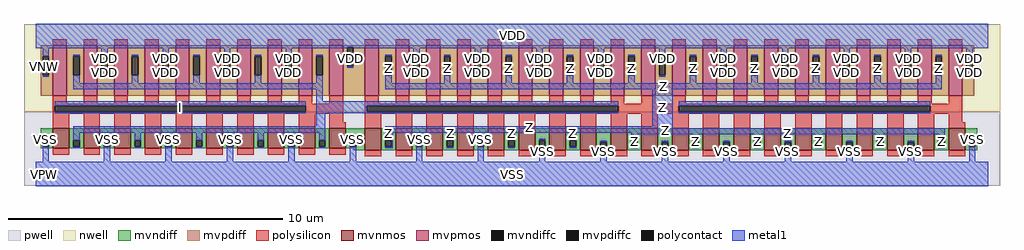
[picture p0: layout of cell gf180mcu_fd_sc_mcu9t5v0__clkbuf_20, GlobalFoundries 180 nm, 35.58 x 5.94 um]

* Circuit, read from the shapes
.subckt gf180mcu_fd_sc_mcu9t5v0__clkbuf_20 I Z VDD VNW VPW VSS
XM1 n1 I VSS VPW nfet_06v0 w=0.73u l=0.6u m=10
XM2 Z n1 VSS VPW nfet_06v0 w=0.8u l=0.6u m=20
XM3 n1 I VDD VNW pfet_06v0 w=1.83u l=0.5u m=10
XM4 Z n1 VDD VNW pfet_06v0 w=1.83u l=0.5u m=20
.ends

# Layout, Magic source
magic
tech gf180mcuD
magscale 1 10
<< nwell >>
rect -86 453 7030 1094
<< pwell >>
rect -86 -86 7030 453
<< mvnmos >>
rect 124 187 244 333
rect 348 187 468 333
rect 572 187 692 333
rect 796 187 916 333
rect 1020 187 1140 333
rect 1244 187 1364 333
rect 1468 187 1588 333
rect 1692 187 1812 333
rect 1916 187 2036 333
rect 2140 187 2260 333
rect 2400 173 2520 333
rect 2624 173 2744 333
rect 2848 173 2968 333
rect 3072 173 3192 333
rect 3296 173 3416 333
rect 3520 173 3640 333
rect 3744 173 3864 333
rect 3968 173 4088 333
rect 4192 173 4312 333
rect 4416 173 4536 333
rect 4640 173 4760 333
rect 4864 173 4984 333
rect 5088 173 5208 333
rect 5312 173 5432 333
rect 5536 173 5656 333
rect 5760 173 5880 333
rect 5984 173 6104 333
rect 6208 173 6328 333
rect 6432 173 6552 333
rect 6656 173 6776 333
<< mvpmos >>
rect 124 573 224 939
rect 348 573 448 939
rect 572 573 672 939
rect 796 573 896 939
rect 1020 573 1120 939
rect 1244 573 1344 939
rect 1468 573 1568 939
rect 1692 573 1792 939
rect 1916 573 2016 939
rect 2140 573 2240 939
rect 2400 573 2500 939
rect 2624 573 2724 939
rect 2848 573 2948 939
rect 3072 573 3172 939
rect 3296 573 3396 939
rect 3520 573 3620 939
rect 3744 573 3844 939
rect 3968 573 4068 939
rect 4192 573 4292 939
rect 4416 573 4516 939
rect 4640 573 4740 939
rect 4864 573 4964 939
rect 5088 573 5188 939
rect 5312 573 5412 939
rect 5536 573 5636 939
rect 5760 573 5860 939
rect 5984 573 6084 939
rect 6208 573 6308 939
rect 6432 573 6532 939
rect 6656 573 6756 939
<< mvndiff >>
rect 36 246 124 333
rect 36 200 49 246
rect 95 200 124 246
rect 36 187 124 200
rect 244 246 348 333
rect 244 200 273 246
rect 319 200 348 246
rect 244 187 348 200
rect 468 246 572 333
rect 468 200 497 246
rect 543 200 572 246
rect 468 187 572 200
rect 692 246 796 333
rect 692 200 721 246
rect 767 200 796 246
rect 692 187 796 200
rect 916 246 1020 333
rect 916 200 945 246
rect 991 200 1020 246
rect 916 187 1020 200
rect 1140 246 1244 333
rect 1140 200 1169 246
rect 1215 200 1244 246
rect 1140 187 1244 200
rect 1364 246 1468 333
rect 1364 200 1393 246
rect 1439 200 1468 246
rect 1364 187 1468 200
rect 1588 246 1692 333
rect 1588 200 1617 246
rect 1663 200 1692 246
rect 1588 187 1692 200
rect 1812 246 1916 333
rect 1812 200 1841 246
rect 1887 200 1916 246
rect 1812 187 1916 200
rect 2036 246 2140 333
rect 2036 200 2065 246
rect 2111 200 2140 246
rect 2036 187 2140 200
rect 2260 246 2400 333
rect 2260 200 2289 246
rect 2335 200 2400 246
rect 2260 187 2400 200
rect 2320 173 2400 187
rect 2520 246 2624 333
rect 2520 200 2549 246
rect 2595 200 2624 246
rect 2520 173 2624 200
rect 2744 246 2848 333
rect 2744 200 2773 246
rect 2819 200 2848 246
rect 2744 173 2848 200
rect 2968 246 3072 333
rect 2968 200 2997 246
rect 3043 200 3072 246
rect 2968 173 3072 200
rect 3192 246 3296 333
rect 3192 200 3221 246
rect 3267 200 3296 246
rect 3192 173 3296 200
rect 3416 246 3520 333
rect 3416 200 3445 246
rect 3491 200 3520 246
rect 3416 173 3520 200
rect 3640 246 3744 333
rect 3640 200 3669 246
rect 3715 200 3744 246
rect 3640 173 3744 200
rect 3864 246 3968 333
rect 3864 200 3893 246
rect 3939 200 3968 246
rect 3864 173 3968 200
rect 4088 232 4192 333
rect 4088 186 4117 232
rect 4163 186 4192 232
rect 4088 173 4192 186
rect 4312 246 4416 333
rect 4312 200 4341 246
rect 4387 200 4416 246
rect 4312 173 4416 200
rect 4536 232 4640 333
rect 4536 186 4565 232
rect 4611 186 4640 232
rect 4536 173 4640 186
rect 4760 246 4864 333
rect 4760 200 4789 246
rect 4835 200 4864 246
rect 4760 173 4864 200
rect 4984 232 5088 333
rect 4984 186 5013 232
rect 5059 186 5088 232
rect 4984 173 5088 186
rect 5208 246 5312 333
rect 5208 200 5237 246
rect 5283 200 5312 246
rect 5208 173 5312 200
rect 5432 232 5536 333
rect 5432 186 5461 232
rect 5507 186 5536 232
rect 5432 173 5536 186
rect 5656 246 5760 333
rect 5656 200 5685 246
rect 5731 200 5760 246
rect 5656 173 5760 200
rect 5880 232 5984 333
rect 5880 186 5909 232
rect 5955 186 5984 232
rect 5880 173 5984 186
rect 6104 246 6208 333
rect 6104 200 6133 246
rect 6179 200 6208 246
rect 6104 173 6208 200
rect 6328 232 6432 333
rect 6328 186 6357 232
rect 6403 186 6432 232
rect 6328 173 6432 186
rect 6552 246 6656 333
rect 6552 200 6581 246
rect 6627 200 6656 246
rect 6552 173 6656 200
rect 6776 246 6864 333
rect 6776 200 6805 246
rect 6851 200 6864 246
rect 6776 173 6864 200
<< mvpdiff >>
rect 36 861 124 939
rect 36 721 49 861
rect 95 721 124 861
rect 36 573 124 721
rect 224 861 348 939
rect 224 721 273 861
rect 319 721 348 861
rect 224 573 348 721
rect 448 861 572 939
rect 448 721 477 861
rect 523 721 572 861
rect 448 573 572 721
rect 672 861 796 939
rect 672 721 701 861
rect 747 721 796 861
rect 672 573 796 721
rect 896 861 1020 939
rect 896 721 925 861
rect 971 721 1020 861
rect 896 573 1020 721
rect 1120 861 1244 939
rect 1120 721 1149 861
rect 1195 721 1244 861
rect 1120 573 1244 721
rect 1344 861 1468 939
rect 1344 721 1373 861
rect 1419 721 1468 861
rect 1344 573 1468 721
rect 1568 861 1692 939
rect 1568 721 1597 861
rect 1643 721 1692 861
rect 1568 573 1692 721
rect 1792 861 1916 939
rect 1792 721 1821 861
rect 1867 721 1916 861
rect 1792 573 1916 721
rect 2016 861 2140 939
rect 2016 721 2045 861
rect 2091 721 2140 861
rect 2016 573 2140 721
rect 2240 926 2400 939
rect 2240 786 2269 926
rect 2315 786 2400 926
rect 2240 573 2400 786
rect 2500 861 2624 939
rect 2500 721 2549 861
rect 2595 721 2624 861
rect 2500 573 2624 721
rect 2724 861 2848 939
rect 2724 721 2753 861
rect 2799 721 2848 861
rect 2724 573 2848 721
rect 2948 861 3072 939
rect 2948 721 2977 861
rect 3023 721 3072 861
rect 2948 573 3072 721
rect 3172 861 3296 939
rect 3172 721 3201 861
rect 3247 721 3296 861
rect 3172 573 3296 721
rect 3396 861 3520 939
rect 3396 721 3425 861
rect 3471 721 3520 861
rect 3396 573 3520 721
rect 3620 861 3744 939
rect 3620 721 3649 861
rect 3695 721 3744 861
rect 3620 573 3744 721
rect 3844 861 3968 939
rect 3844 721 3873 861
rect 3919 721 3968 861
rect 3844 573 3968 721
rect 4068 861 4192 939
rect 4068 721 4097 861
rect 4143 721 4192 861
rect 4068 573 4192 721
rect 4292 861 4416 939
rect 4292 721 4321 861
rect 4367 721 4416 861
rect 4292 573 4416 721
rect 4516 861 4640 939
rect 4516 721 4545 861
rect 4591 721 4640 861
rect 4516 573 4640 721
rect 4740 861 4864 939
rect 4740 721 4769 861
rect 4815 721 4864 861
rect 4740 573 4864 721
rect 4964 861 5088 939
rect 4964 721 4993 861
rect 5039 721 5088 861
rect 4964 573 5088 721
rect 5188 861 5312 939
rect 5188 721 5217 861
rect 5263 721 5312 861
rect 5188 573 5312 721
rect 5412 861 5536 939
rect 5412 721 5441 861
rect 5487 721 5536 861
rect 5412 573 5536 721
rect 5636 861 5760 939
rect 5636 721 5665 861
rect 5711 721 5760 861
rect 5636 573 5760 721
rect 5860 861 5984 939
rect 5860 721 5889 861
rect 5935 721 5984 861
rect 5860 573 5984 721
rect 6084 861 6208 939
rect 6084 721 6113 861
rect 6159 721 6208 861
rect 6084 573 6208 721
rect 6308 861 6432 939
rect 6308 721 6337 861
rect 6383 721 6432 861
rect 6308 573 6432 721
rect 6532 861 6656 939
rect 6532 721 6561 861
rect 6607 721 6656 861
rect 6532 573 6656 721
rect 6756 861 6844 939
rect 6756 721 6785 861
rect 6831 721 6844 861
rect 6756 573 6844 721
<< mvndiffc >>
rect 49 200 95 246
rect 273 200 319 246
rect 497 200 543 246
rect 721 200 767 246
rect 945 200 991 246
rect 1169 200 1215 246
rect 1393 200 1439 246
rect 1617 200 1663 246
rect 1841 200 1887 246
rect 2065 200 2111 246
rect 2289 200 2335 246
rect 2549 200 2595 246
rect 2773 200 2819 246
rect 2997 200 3043 246
rect 3221 200 3267 246
rect 3445 200 3491 246
rect 3669 200 3715 246
rect 3893 200 3939 246
rect 4117 186 4163 232
rect 4341 200 4387 246
rect 4565 186 4611 232
rect 4789 200 4835 246
rect 5013 186 5059 232
rect 5237 200 5283 246
rect 5461 186 5507 232
rect 5685 200 5731 246
rect 5909 186 5955 232
rect 6133 200 6179 246
rect 6357 186 6403 232
rect 6581 200 6627 246
rect 6805 200 6851 246
<< mvpdiffc >>
rect 49 721 95 861
rect 273 721 319 861
rect 477 721 523 861
rect 701 721 747 861
rect 925 721 971 861
rect 1149 721 1195 861
rect 1373 721 1419 861
rect 1597 721 1643 861
rect 1821 721 1867 861
rect 2045 721 2091 861
rect 2269 786 2315 926
rect 2549 721 2595 861
rect 2753 721 2799 861
rect 2977 721 3023 861
rect 3201 721 3247 861
rect 3425 721 3471 861
rect 3649 721 3695 861
rect 3873 721 3919 861
rect 4097 721 4143 861
rect 4321 721 4367 861
rect 4545 721 4591 861
rect 4769 721 4815 861
rect 4993 721 5039 861
rect 5217 721 5263 861
rect 5441 721 5487 861
rect 5665 721 5711 861
rect 5889 721 5935 861
rect 6113 721 6159 861
rect 6337 721 6383 861
rect 6561 721 6607 861
rect 6785 721 6831 861
<< polysilicon >>
rect 124 939 224 983
rect 348 939 448 983
rect 572 939 672 983
rect 796 939 896 983
rect 1020 939 1120 983
rect 1244 939 1344 983
rect 1468 939 1568 983
rect 1692 939 1792 983
rect 1916 939 2016 983
rect 2140 939 2240 983
rect 2400 939 2500 983
rect 2624 939 2724 983
rect 2848 939 2948 983
rect 3072 939 3172 983
rect 3296 939 3396 983
rect 3520 939 3620 983
rect 3744 939 3844 983
rect 3968 939 4068 983
rect 4192 939 4292 983
rect 4416 939 4516 983
rect 4640 939 4740 983
rect 4864 939 4964 983
rect 5088 939 5188 983
rect 5312 939 5412 983
rect 5536 939 5636 983
rect 5760 939 5860 983
rect 5984 939 6084 983
rect 6208 939 6308 983
rect 6432 939 6532 983
rect 6656 939 6756 983
rect 124 513 224 573
rect 348 513 448 573
rect 572 513 672 573
rect 796 513 896 573
rect 1020 513 1120 573
rect 1244 513 1344 573
rect 1468 513 1568 573
rect 1692 513 1792 573
rect 1916 513 2016 573
rect 2140 513 2240 573
rect 124 500 2240 513
rect 124 454 137 500
rect 1969 454 2240 500
rect 124 441 2240 454
rect 124 333 244 441
rect 348 333 468 441
rect 572 333 692 441
rect 796 333 916 441
rect 1020 333 1140 441
rect 1244 333 1364 441
rect 1468 333 1588 441
rect 1692 333 1812 441
rect 1916 333 2036 441
rect 2140 377 2240 441
rect 2400 513 2500 573
rect 2624 513 2724 573
rect 2848 513 2948 573
rect 3072 513 3172 573
rect 3296 513 3396 573
rect 3520 513 3620 573
rect 3744 513 3844 573
rect 3968 513 4068 573
rect 4192 513 4292 573
rect 4416 513 4516 573
rect 4640 513 4740 573
rect 4864 513 4964 573
rect 5088 513 5188 573
rect 5312 513 5412 573
rect 5536 513 5636 573
rect 5760 513 5860 573
rect 5984 513 6084 573
rect 6208 513 6308 573
rect 6432 513 6532 573
rect 6656 513 6756 573
rect 2400 500 6756 513
rect 2400 454 2413 500
rect 4245 454 4689 500
rect 6521 454 6756 500
rect 2400 441 6756 454
rect 2140 333 2260 377
rect 2400 333 2520 441
rect 2624 333 2744 441
rect 2848 333 2968 441
rect 3072 333 3192 441
rect 3296 333 3416 441
rect 3520 333 3640 441
rect 3744 333 3864 441
rect 3968 333 4088 441
rect 4192 333 4312 441
rect 4416 333 4536 441
rect 4640 333 4760 441
rect 4864 333 4984 441
rect 5088 333 5208 441
rect 5312 333 5432 441
rect 5536 333 5656 441
rect 5760 333 5880 441
rect 5984 333 6104 441
rect 6208 333 6328 441
rect 6432 333 6552 441
rect 6656 377 6756 441
rect 6656 333 6776 377
rect 124 143 244 187
rect 348 143 468 187
rect 572 143 692 187
rect 796 143 916 187
rect 1020 143 1140 187
rect 1244 143 1364 187
rect 1468 143 1588 187
rect 1692 143 1812 187
rect 1916 143 2036 187
rect 2140 143 2260 187
rect 2400 129 2520 173
rect 2624 129 2744 173
rect 2848 129 2968 173
rect 3072 129 3192 173
rect 3296 129 3416 173
rect 3520 129 3640 173
rect 3744 129 3864 173
rect 3968 129 4088 173
rect 4192 129 4312 173
rect 4416 129 4536 173
rect 4640 129 4760 173
rect 4864 129 4984 173
rect 5088 129 5208 173
rect 5312 129 5432 173
rect 5536 129 5656 173
rect 5760 129 5880 173
rect 5984 129 6104 173
rect 6208 129 6328 173
rect 6432 129 6552 173
rect 6656 129 6776 173
<< polycontact >>
rect 137 454 1969 500
rect 2413 454 4245 500
rect 4689 454 6521 500
<< metal1 >>
rect 0 926 6944 1098
rect 0 918 2269 926
rect 49 861 95 918
rect 49 710 95 721
rect 273 861 319 872
rect 273 664 319 721
rect 477 861 523 918
rect 477 710 523 721
rect 701 861 747 872
rect 701 664 747 721
rect 925 861 971 918
rect 925 710 971 721
rect 1149 861 1195 872
rect 1149 664 1195 721
rect 1373 861 1419 918
rect 1373 710 1419 721
rect 1597 861 1643 872
rect 1597 664 1643 721
rect 1821 861 1867 918
rect 1821 710 1867 721
rect 2045 861 2091 872
rect 2315 918 6944 926
rect 2269 775 2315 786
rect 2549 861 2595 872
rect 2045 664 2091 721
rect 273 618 2091 664
rect 2549 664 2595 721
rect 2753 861 2799 918
rect 2753 710 2799 721
rect 2977 861 3023 872
rect 2977 664 3023 721
rect 3201 861 3247 918
rect 3201 710 3247 721
rect 3425 861 3471 872
rect 3425 664 3471 721
rect 3649 861 3695 918
rect 3649 710 3695 721
rect 3873 861 3919 872
rect 3873 664 3919 721
rect 4097 861 4143 918
rect 4097 710 4143 721
rect 4321 861 4367 872
rect 4321 664 4367 721
rect 4545 861 4591 918
rect 4545 710 4591 721
rect 4769 861 4815 872
rect 4769 664 4815 721
rect 4993 861 5039 918
rect 4993 710 5039 721
rect 5217 861 5263 872
rect 5217 664 5263 721
rect 5441 861 5487 918
rect 5441 710 5487 721
rect 5665 861 5711 872
rect 5665 664 5711 721
rect 5889 861 5935 918
rect 5889 710 5935 721
rect 6113 861 6159 872
rect 6113 664 6159 721
rect 6337 861 6383 918
rect 6337 710 6383 721
rect 6561 861 6607 872
rect 6561 664 6607 721
rect 6785 861 6831 918
rect 6785 710 6831 721
rect 2549 618 6607 664
rect 2045 530 2091 618
rect 137 500 1969 530
rect 137 443 1969 454
rect 2045 500 4245 530
rect 2045 454 2413 500
rect 2045 443 4245 454
rect 2045 349 2111 443
rect 4493 349 4643 618
rect 4689 500 6521 530
rect 4689 443 6521 454
rect 273 303 2111 349
rect 49 246 95 257
rect 49 90 95 200
rect 273 246 319 303
rect 273 189 319 200
rect 497 246 543 257
rect 497 90 543 200
rect 721 246 767 303
rect 721 189 767 200
rect 945 246 991 257
rect 945 90 991 200
rect 1169 246 1215 303
rect 1169 189 1215 200
rect 1393 246 1439 257
rect 1393 90 1439 200
rect 1617 246 1663 303
rect 1617 189 1663 200
rect 1841 246 1887 257
rect 1841 90 1887 200
rect 2065 246 2111 303
rect 2549 335 4643 349
rect 2549 303 6627 335
rect 2065 189 2111 200
rect 2289 246 2335 257
rect 2289 90 2335 200
rect 2549 246 2601 303
rect 2595 200 2601 246
rect 2549 189 2601 200
rect 2773 246 2819 257
rect 2773 90 2819 200
rect 2997 246 3043 303
rect 2997 189 3043 200
rect 3221 246 3267 257
rect 3221 90 3267 200
rect 3445 246 3491 303
rect 3445 189 3491 200
rect 3669 246 3715 257
rect 3669 90 3715 200
rect 3893 246 3939 303
rect 4341 289 6627 303
rect 4341 246 4387 289
rect 3893 189 3939 200
rect 4117 232 4163 243
rect 4789 246 4835 289
rect 4341 189 4387 200
rect 4565 232 4611 243
rect 4117 90 4163 186
rect 5237 246 5283 289
rect 4789 189 4835 200
rect 5013 232 5059 243
rect 4565 90 4611 186
rect 5685 246 5731 289
rect 5237 189 5283 200
rect 5461 232 5507 243
rect 5013 90 5059 186
rect 6133 246 6179 289
rect 5685 189 5731 200
rect 5909 232 5955 243
rect 5461 90 5507 186
rect 6581 246 6627 289
rect 6133 189 6179 200
rect 6357 232 6403 243
rect 5909 90 5955 186
rect 6581 189 6627 200
rect 6805 246 6851 257
rect 6357 90 6403 186
rect 6805 90 6851 200
rect 0 -90 6944 90
<< labels >>
flabel metal1 s 137 443 1969 530 0 FreeSans 200 0 0 0 I
port 1 nsew default input
flabel metal1 s 0 918 6944 1098 0 FreeSans 200 0 0 0 VDD
port 3 nsew power bidirectional abutment
flabel metal1 s 6805 243 6851 257 0 FreeSans 200 0 0 0 VSS
port 6 nsew ground bidirectional abutment
flabel metal1 s 6561 664 6607 872 0 FreeSans 200 0 0 0 Z
port 2 nsew default output
flabel nwell s 10 734 110 834 0 FreeSans 400 0 0 0 VNW
port 4 nsew power bidirectional
flabel pwell s 10 -50 110 50 0 FreeSans 400 0 0 0 VPW
port 5 nsew ground bidirectional
rlabel metal1 s 6113 664 6159 872 1 Z
port 2 nsew default output
rlabel metal1 s 5665 664 5711 872 1 Z
port 2 nsew default output
rlabel metal1 s 5217 664 5263 872 1 Z
port 2 nsew default output
rlabel metal1 s 4769 664 4815 872 1 Z
port 2 nsew default output
rlabel metal1 s 4321 664 4367 872 1 Z
port 2 nsew default output
rlabel metal1 s 3873 664 3919 872 1 Z
port 2 nsew default output
rlabel metal1 s 3425 664 3471 872 1 Z
port 2 nsew default output
rlabel metal1 s 2977 664 3023 872 1 Z
port 2 nsew default output
rlabel metal1 s 2549 664 2595 872 1 Z
port 2 nsew default output
rlabel metal1 s 2549 618 6607 664 1 Z
port 2 nsew default output
rlabel metal1 s 4493 349 4643 618 1 Z
port 2 nsew default output
rlabel metal1 s 2549 335 4643 349 1 Z
port 2 nsew default output
rlabel metal1 s 2549 303 6627 335 1 Z
port 2 nsew default output
rlabel metal1 s 4341 289 6627 303 1 Z
port 2 nsew default output
rlabel metal1 s 3893 289 3939 303 1 Z
port 2 nsew default output
rlabel metal1 s 3445 289 3491 303 1 Z
port 2 nsew default output
rlabel metal1 s 2997 289 3043 303 1 Z
port 2 nsew default output
rlabel metal1 s 2549 289 2601 303 1 Z
port 2 nsew default output
rlabel metal1 s 6581 189 6627 289 1 Z
port 2 nsew default output
rlabel metal1 s 6133 189 6179 289 1 Z
port 2 nsew default output
rlabel metal1 s 5685 189 5731 289 1 Z
port 2 nsew default output
rlabel metal1 s 5237 189 5283 289 1 Z
port 2 nsew default output
rlabel metal1 s 4789 189 4835 289 1 Z
port 2 nsew default output
rlabel metal1 s 4341 189 4387 289 1 Z
port 2 nsew default output
rlabel metal1 s 3893 189 3939 289 1 Z
port 2 nsew default output
rlabel metal1 s 3445 189 3491 289 1 Z
port 2 nsew default output
rlabel metal1 s 2997 189 3043 289 1 Z
port 2 nsew default output
rlabel metal1 s 2549 189 2601 289 1 Z
port 2 nsew default output
rlabel metal1 s 6785 775 6831 918 1 VDD
port 3 nsew power bidirectional abutment
rlabel metal1 s 6337 775 6383 918 1 VDD
port 3 nsew power bidirectional abutment
rlabel metal1 s 5889 775 5935 918 1 VDD
port 3 nsew power bidirectional abutment
rlabel metal1 s 5441 775 5487 918 1 VDD
port 3 nsew power bidirectional abutment
rlabel metal1 s 4993 775 5039 918 1 VDD
port 3 nsew power bidirectional abutment
rlabel metal1 s 4545 775 4591 918 1 VDD
port 3 nsew power bidirectional abutment
rlabel metal1 s 4097 775 4143 918 1 VDD
port 3 nsew power bidirectional abutment
rlabel metal1 s 3649 775 3695 918 1 VDD
port 3 nsew power bidirectional abutment
rlabel metal1 s 3201 775 3247 918 1 VDD
port 3 nsew power bidirectional abutment
rlabel metal1 s 2753 775 2799 918 1 VDD
port 3 nsew power bidirectional abutment
rlabel metal1 s 2269 775 2315 918 1 VDD
port 3 nsew power bidirectional abutment
rlabel metal1 s 1821 775 1867 918 1 VDD
port 3 nsew power bidirectional abutment
rlabel metal1 s 1373 775 1419 918 1 VDD
port 3 nsew power bidirectional abutment
rlabel metal1 s 925 775 971 918 1 VDD
port 3 nsew power bidirectional abutment
rlabel metal1 s 477 775 523 918 1 VDD
port 3 nsew power bidirectional abutment
rlabel metal1 s 49 775 95 918 1 VDD
port 3 nsew power bidirectional abutment
rlabel metal1 s 6785 710 6831 775 1 VDD
port 3 nsew power bidirectional abutment
rlabel metal1 s 6337 710 6383 775 1 VDD
port 3 nsew power bidirectional abutment
rlabel metal1 s 5889 710 5935 775 1 VDD
port 3 nsew power bidirectional abutment
rlabel metal1 s 5441 710 5487 775 1 VDD
port 3 nsew power bidirectional abutment
rlabel metal1 s 4993 710 5039 775 1 VDD
port 3 nsew power bidirectional abutment
rlabel metal1 s 4545 710 4591 775 1 VDD
port 3 nsew power bidirectional abutment
rlabel metal1 s 4097 710 4143 775 1 VDD
port 3 nsew power bidirectional abutment
rlabel metal1 s 3649 710 3695 775 1 VDD
port 3 nsew power bidirectional abutment
rlabel metal1 s 3201 710 3247 775 1 VDD
port 3 nsew power bidirectional abutment
rlabel metal1 s 2753 710 2799 775 1 VDD
port 3 nsew power bidirectional abutment
rlabel metal1 s 1821 710 1867 775 1 VDD
port 3 nsew power bidirectional abutment
rlabel metal1 s 1373 710 1419 775 1 VDD
port 3 nsew power bidirectional abutment
rlabel metal1 s 925 710 971 775 1 VDD
port 3 nsew power bidirectional abutment
rlabel metal1 s 477 710 523 775 1 VDD
port 3 nsew power bidirectional abutment
rlabel metal1 s 49 710 95 775 1 VDD
port 3 nsew power bidirectional abutment
rlabel metal1 s 3669 243 3715 257 1 VSS
port 6 nsew ground bidirectional abutment
rlabel metal1 s 3221 243 3267 257 1 VSS
port 6 nsew ground bidirectional abutment
rlabel metal1 s 2773 243 2819 257 1 VSS
port 6 nsew ground bidirectional abutment
rlabel metal1 s 2289 243 2335 257 1 VSS
port 6 nsew ground bidirectional abutment
rlabel metal1 s 1841 243 1887 257 1 VSS
port 6 nsew ground bidirectional abutment
rlabel metal1 s 1393 243 1439 257 1 VSS
port 6 nsew ground bidirectional abutment
rlabel metal1 s 945 243 991 257 1 VSS
port 6 nsew ground bidirectional abutment
rlabel metal1 s 497 243 543 257 1 VSS
port 6 nsew ground bidirectional abutment
rlabel metal1 s 49 243 95 257 1 VSS
port 6 nsew ground bidirectional abutment
rlabel metal1 s 6805 90 6851 243 1 VSS
port 6 nsew ground bidirectional abutment
rlabel metal1 s 6357 90 6403 243 1 VSS
port 6 nsew ground bidirectional abutment
rlabel metal1 s 5909 90 5955 243 1 VSS
port 6 nsew ground bidirectional abutment
rlabel metal1 s 5461 90 5507 243 1 VSS
port 6 nsew ground bidirectional abutment
rlabel metal1 s 5013 90 5059 243 1 VSS
port 6 nsew ground bidirectional abutment
rlabel metal1 s 4565 90 4611 243 1 VSS
port 6 nsew ground bidirectional abutment
rlabel metal1 s 4117 90 4163 243 1 VSS
port 6 nsew ground bidirectional abutment
rlabel metal1 s 3669 90 3715 243 1 VSS
port 6 nsew ground bidirectional abutment
rlabel metal1 s 3221 90 3267 243 1 VSS
port 6 nsew ground bidirectional abutment
rlabel metal1 s 2773 90 2819 243 1 VSS
port 6 nsew ground bidirectional abutment
rlabel metal1 s 2289 90 2335 243 1 VSS
port 6 nsew ground bidirectional abutment
rlabel metal1 s 1841 90 1887 243 1 VSS
port 6 nsew ground bidirectional abutment
rlabel metal1 s 1393 90 1439 243 1 VSS
port 6 nsew ground bidirectional abutment
rlabel metal1 s 945 90 991 243 1 VSS
port 6 nsew ground bidirectional abutment
rlabel metal1 s 497 90 543 243 1 VSS
port 6 nsew ground bidirectional abutment
rlabel metal1 s 49 90 95 243 1 VSS
port 6 nsew ground bidirectional abutment
rlabel metal1 s 0 -90 6944 90 1 VSS
port 6 nsew ground bidirectional abutment
<< properties >>
string FIXED_BBOX 0 0 6944 1008
string GDS_END 1441174
string GDS_FILE $PDKPATH/libs.ref/gf180mcu_fd_sc_mcu9t5v0/gds/gf180mcu_fd_sc_mcu9t5v0.gds
string GDS_START 1425760
string LEFclass core
string LEFsite GF018hv5v_green_sc9
string LEFsymmetry X Y
<< end >>
